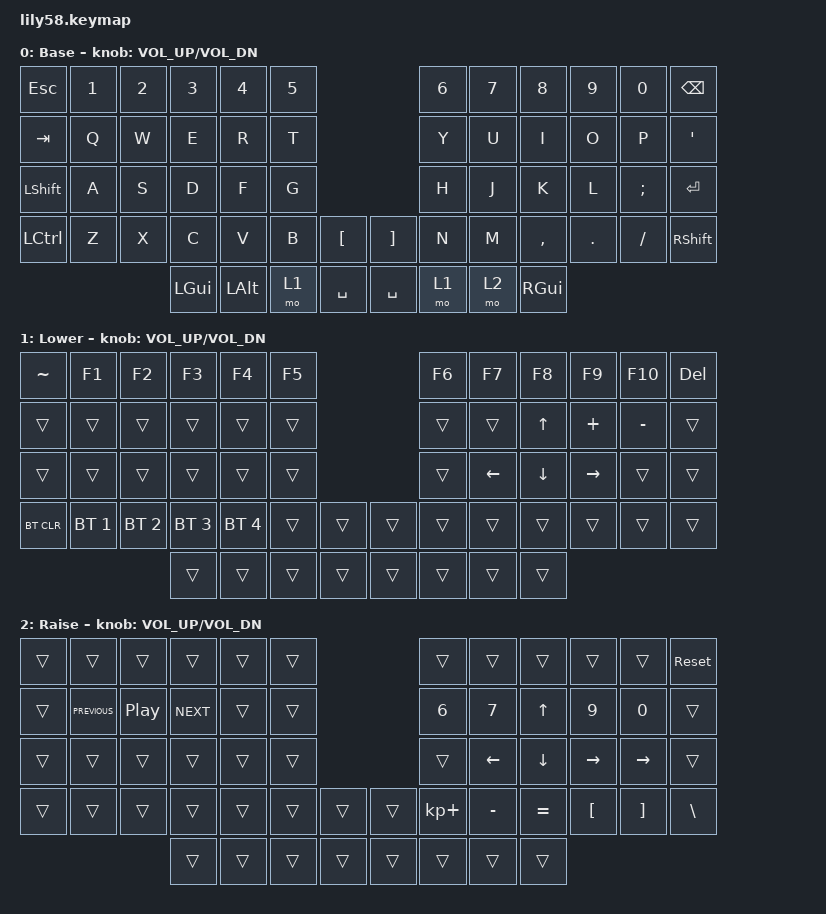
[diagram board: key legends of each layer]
/*
 * Copyright (c) 2020 The ZMK Contributors
 *
 * SPDX-License-Identifier: MIT
 */

#include <behaviors.dtsi>
#include <dt-bindings/zmk/bt.h>
#include <dt-bindings/zmk/keys.h>

/ {
    keymap {
        compatible = "zmk,keymap";

        default_layer {
            // ------------------------------------------------------------------------------------------------------------
            // |  ESC  |  1  |  2  |  3   |  4   |  5   |                   |  6   |  7    |  8    |  9   |   0   |   `   |
            // |  TAB  |  Q  |  W  |  E   |  R   |  T   |                   |  Y   |  U    |  I    |  O   |   P   |   -   |
            // |  CTRL |  A  |  S  |  D   |  F   |  G   |                   |  H   |  J    |  K    |  L   |   ;   |   '   |
            // | SHIFT |  Z  |  X  |  C   |  V   |  B   |   "["  |  |  "]"  |  N   |  M    |  ,    |  .   |   /   | SHIFT |
            //                     | ALT  | GUI  | LOWER|  SPACE |  | ENTER | RAISE| BSPC  | GUI   |

            display-name = "Base";
            bindings = <
&kp ESC           &kp N1  &kp N2  &kp N3    &kp N4        &kp N5                          &kp N6  &kp N7  &kp N8     &kp N9   &kp N0    &kp BACKSPACE
&kp TAB           &kp Q   &kp W   &kp E     &kp R         &kp T                           &kp Y   &kp U   &kp I      &kp O    &kp P     &kp APOSTROPHE
&kp LEFT_SHIFT    &kp A   &kp S   &kp D     &kp F         &kp G                           &kp H   &kp J   &kp K      &kp L    &kp SEMI  &kp ENTER
&kp LEFT_CONTROL  &kp Z   &kp X   &kp C     &kp V         &kp B   &kp LBKT     &kp RBKT   &kp N   &kp M   &kp COMMA  &kp DOT  &kp FSLH  &kp RSHFT
                                  &kp LGUI  &kp LEFT_ALT  &mo 1   &kp SPACE    &kp SPACE  &mo 1   &mo 2   &kp RGUI
            >;

            sensor-bindings = <&inc_dec_kp C_VOL_UP C_VOL_DN>;
        };

        lower_layer {
            // ------------------------------------------------------------------------------------------------------------
            // | BTCLR | BT1 | BT2 |  BT3 |  BT4 |  BT5 |                   |      |       |       |      |       |       |
            // |  F1   |  F2 |  F3 |  F4  |  F5  |  F6  |                   |  F7  |  F8   |  F9   |  F10 |  F11  |  F12  |
            // |   `   |  !  |  @  |  #   |  $   |  %   |                   |  ^   |  &    |  *    |  (   |   )   |   ~   |
            // |       |     |     |      |      |      |        |  |       |      |  _    |  +    |  {   |   }   |  "|"  |
            //                     |      |      |      |        |  |       |      |       |       |

            display-name = "Lower";
            bindings = <
&kp TILDE   &kp F1        &kp F2        &kp F3        &kp F4        &kp F5                    &kp F6  &kp F7          &kp F8          &kp F9           &kp F10    &kp DELETE
&trans      &trans        &trans        &trans        &trans        &trans                    &trans  &trans          &kp UP_ARROW    &kp PLUS         &kp MINUS  &trans
&trans      &trans        &trans        &trans        &trans        &trans                    &trans  &kp LEFT_ARROW  &kp DOWN_ARROW  &kp RIGHT_ARROW  &trans     &trans
&bt BT_CLR  &bt BT_SEL 1  &bt BT_SEL 2  &bt BT_SEL 3  &bt BT_SEL 4  &trans  &trans    &trans  &trans  &trans          &trans          &trans           &trans     &trans
                                        &trans        &trans        &trans  &trans    &trans  &trans  &trans          &trans
            >;

            sensor-bindings = <&inc_dec_kp C_VOL_UP C_VOL_DN>;
        };

        raise_layer {
            // ------------------------------------------------------------------------------------------------------------
            // |       |     |     |      |      |      |                   |      |       |       |      |       |       |
            // |   `   |  1  |  2  |  3   |  4   |  5   |                   |  6   |   7   |   8   |  9   |   0   |       |
            // |   F1  |  F2 |  F3 |  F4  |  F5  |  F6  |                   |      |   <-  |   v   |  ^   |  ->   |       |
            // |   F7  |  F8 |  F9 |  F10 |  F11 |  F12 |        |  |       |  +   |   -   |   =   |  [   |   ]   |   \   |
            //                     |      |      |      |        |  |       |      |       |       |

            display-name = "Raise";
            bindings = <
&trans  &trans          &trans            &trans      &trans  &trans                    &trans       &trans     &trans        &trans           &trans     &sys_reset
&trans  &kp C_PREVIOUS  &kp C_PLAY_PAUSE  &kp C_NEXT  &trans  &trans                    &kp N6       &kp N7     &kp UP_ARROW  &kp N9           &kp N0     &trans
&trans  &trans          &trans            &trans      &trans  &trans                    &trans       &kp LEFT   &kp DOWN      &kp RIGHT_ARROW  &kp RIGHT  &trans
&trans  &trans          &trans            &trans      &trans  &trans  &trans    &trans  &kp KP_PLUS  &kp MINUS  &kp EQUAL     &kp LBKT         &kp RBKT   &kp BSLH
                                          &trans      &trans  &trans  &trans    &trans  &trans       &trans     &trans
            >;

            sensor-bindings = <&inc_dec_kp C_VOL_UP C_VOL_DN>;
        };
    };
};
